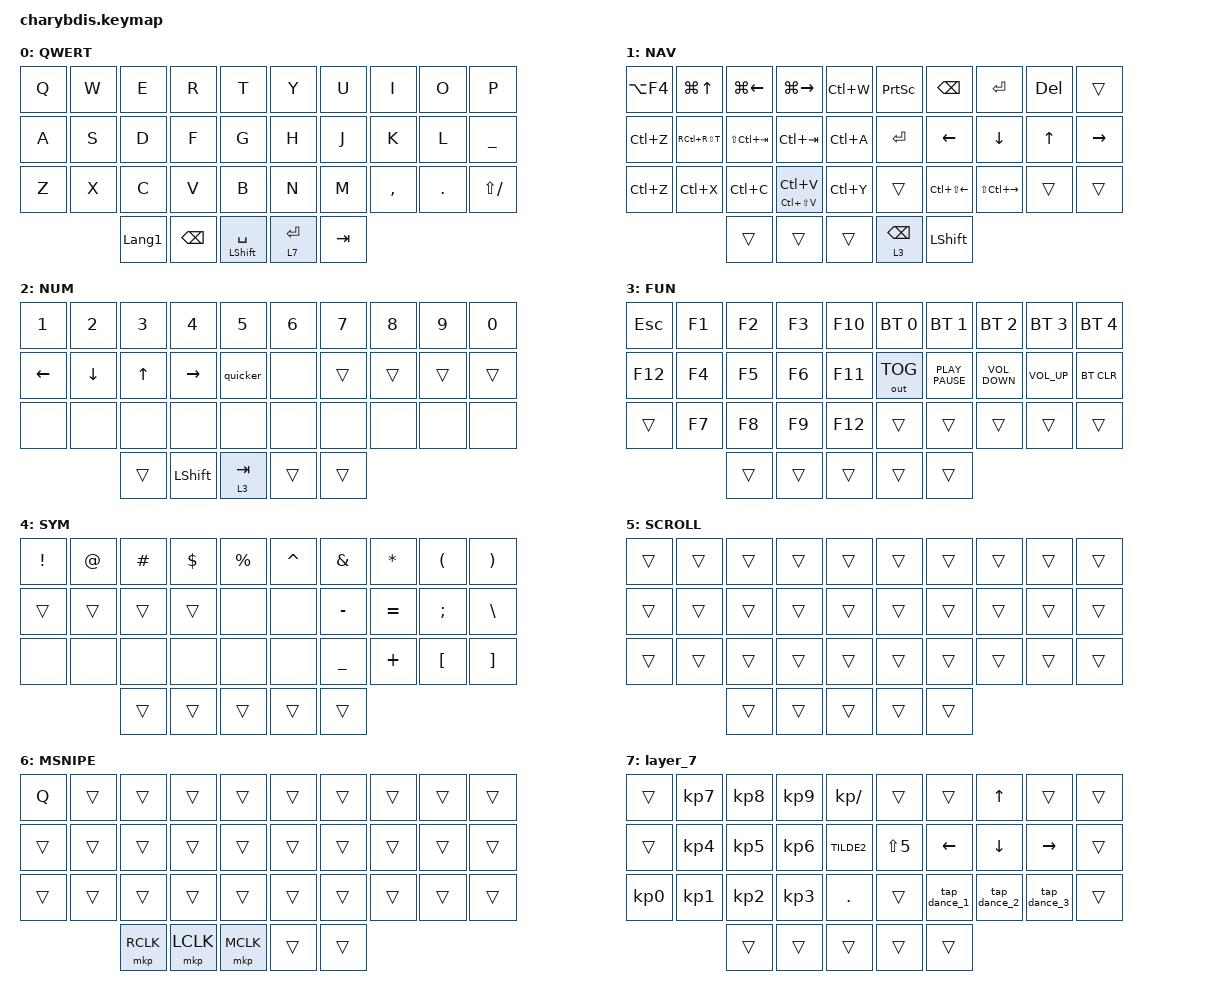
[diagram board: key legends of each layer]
#include <behaviors/mouse_keys.dtsi>
#include <dt-bindings/zmk/mouse.h>
#include <behaviors.dtsi>
#include <dt-bindings/zmk/bt.h>
#include <dt-bindings/zmk/keys.h>
#include <dt-bindings/zmk/outputs.h>
#include <dt-bindings/zmk/pointing.h>

&lt {
    tapping-term-ms = <240>;
    flavor = "tap-preferred";
    quick-tap-ms = <150>;
    require-prior-idle-ms = <10>;
};

&mt {
    tapping-term-ms = <250>;
    flavor = "tap-preferred";
    require-prior-idle-ms = <250>;
};

/ {
    chosen { zmk,matrix_transform = &five_column_transform; };
};

/ {
    combos {
        compatible = "zmk,combos";

        LeftClickRight {
            bindings = <&mkp LCLK>;
            key-positions = <16 17>;
        };

        RightClickRight {
            bindings = <&mkp RCLK>;
            key-positions = <17 18>;
        };

        scroll {
            bindings = <&mo 5>;
            key-positions = <16 17 18>;
        };

        plus {
            bindings = <&kp PLUS>;
            key-positions = <12 13>;
        };

        minus {
            bindings = <&kp KP_MINUS>;
            key-positions = <23 22>;
        };

        cut {
            bindings = <&kp LC(X)>;
            key-positions = <26 27>;
        };

        paste {
            bindings = <&kp LC(V)>;
            key-positions = <27 28>;
        };

        copy {
            bindings = <&kp LC(C)>;
            key-positions = <6 7>;
        };
    };

    behaviors {
        Shift_Enter: Shift_Enter {
            compatible = "zmk,behavior-hold-tap";
            label = "SHIFT_ENTER";
            bindings = <&kp>, <&kp>;

            #binding-cells = <2>;
            hold-trigger-key-positions = <34>;
            tapping-term-ms = <100>;
        };

        hold_tap: hold_tap {
            compatible = "zmk,behavior-hold-tap";
            label = "HOLD_TAP";
            bindings = <&kp>, <&kp>;

            #binding-cells = <2>;
            tapping-term-ms = <200>;
            flavor = "tap-preferred";
        };

        tap_dance_lang_control: tap_dance_lang_control {
            compatible = "zmk,behavior-tap-dance";
            label = "TAP_DANCE_LANG_CONTROL";
            #binding-cells = <0>;
            bindings = <&hold_tap LEFT_CONTROL LC(SPACE)>, <&kp LC(RETURN)>;
        };

        tap_dance_1: tap_dance_1 {
            compatible = "zmk,behavior-tap-dance";
            label = "TAP_DANCE_1";
            #binding-cells = <0>;
            bindings = <&kp LS(NUMBER_3)>, <&kp APOS>;
        };

        tap_dance_2: tap_dance_2 {
            compatible = "zmk,behavior-tap-dance";
            label = "TAP_DANCE_2";
            #binding-cells = <0>;
            bindings = <&kp RIGHT_BRACE>, <&kp NON_US_BSLH>;
        };

        tap_dance_3: tap_dance_3 {
            compatible = "zmk,behavior-tap-dance";
            label = "TAP_DANCE_3";
            #binding-cells = <0>;
            bindings = <&kp LS(N9)>, <&kp LS(N8)>;
        };
    };

    macros {
        quicker: quicker {
            compatible = "zmk,behavior-macro";
            #binding-cells = <0>;
            bindings = <&kp LEFT_CONTROL &kp LCTRL>, <&macro_press>;

            label = "QUICKER";
        };
    };

    keymap {
        compatible = "zmk,keymap";

        QWERT {
            bindings = <
  &kp Q  &kp W  &kp E           &kp R          &kp T                   &kp Y         &kp U    &kp I      &kp O    &kp P
  &kp A  &kp S  &kp D           &kp F          &kp G                   &kp H         &kp J    &kp K      &kp L    &kp UNDERSCORE
  &kp Z  &kp X  &kp C           &kp V          &kp B                   &kp N         &kp M    &kp COMMA  &kp DOT  &kp LS(SLASH)
                &kp LANGUAGE_1  &kp BACKSPACE  &mt LEFT_SHIFT SPACE    &lt 7 RETURN  &kp TAB
            >;
        };

        NAV {
            bindings = <
  &kp LA(F4)  &kp LG(UP_ARROW)  &kp LG(LEFT)     &kp LG(RIGHT)        &kp LC(W)    &kp PRINTSCREEN  &kp BACKSPACE     &kp ENTER          &kp DELETE    &trans
  &kp LC(Z)   &kp RC(RS(T))     &kp LS(LC(TAB))  &kp LC(TAB)          &kp LC(A)    &kp ENTER        &kp LEFT          &kp DOWN           &kp UP_ARROW  &kp RIGHT
  &kp LC(Z)   &kp LC(X)         &kp LC(C)        &mt LC(LS(V)) LC(V)  &kp LC(Y)    &trans           &kp LC(LS(LEFT))  &kp LS(LC(RIGHT))  &trans        &trans
                                &trans           &trans               &trans       &lt 3 BACKSPACE  &kp LSHFT
            >;
        };

        NUM {
            bindings = <
  &kp N1    &kp N2          &kp N3        &kp N4          &kp N5       &kp N6  &kp N7  &kp N8  &kp N9  &kp N0
  &kp LEFT  &kp DOWN_ARROW  &kp UP_ARROW  &kp RIGHT       &quicker     &none   &trans  &trans  &trans  &trans
  &none     &none           &none         &none           &none        &none   &none   &none   &none   &none
                            &trans        &kp LEFT_SHIFT  &lt 3 TAB    &trans  &trans
            >;
        };

        FUN {
            bindings = <
  &kp ESC  &kp F1  &kp F2  &kp F3  &kp F10    &bt BT_SEL 0  &bt BT_SEL 1      &bt BT_SEL 2       &bt BT_SEL 3     &bt BT_SEL 4
  &kp F12  &kp F4  &kp F5  &kp F6  &kp F11    &out OUT_TOG  &kp K_PLAY_PAUSE  &kp C_VOLUME_DOWN  &kp C_VOLUME_UP  &bt BT_CLR
  &trans   &kp F7  &kp F8  &kp F9  &kp F12    &trans        &trans            &trans             &trans           &trans
                   &trans  &trans  &trans     &trans        &trans
            >;
        };

        SYM {
            bindings = <
  &kp EXCLAMATION  &kp AT_SIGN  &kp HASH  &kp DOLLAR  &kp PERCENT    &kp CARET  &kp AMPERSAND   &kp ASTERISK  &kp LEFT_PARENTHESIS  &kp RIGHT_PARENTHESIS
  &trans           &trans       &trans    &trans      &none          &none      &kp MINUS       &kp EQUAL     &kp SEMICOLON         &kp BACKSLASH
  &none            &none        &none     &none       &none          &none      &kp UNDERSCORE  &kp PLUS      &kp LEFT_BRACKET      &kp RIGHT_BRACKET
                                &trans    &trans      &trans         &trans     &trans
            >;
        };

        SCROLL {
            bindings = <
  &trans  &trans  &trans  &trans  &trans    &trans  &trans  &trans  &trans  &trans
  &trans  &trans  &trans  &trans  &trans    &trans  &trans  &trans  &trans  &trans
  &trans  &trans  &trans  &trans  &trans    &trans  &trans  &trans  &trans  &trans
                  &trans  &trans  &trans    &trans  &trans
            >;
        };

        MSNIPE {
            bindings = <
  &kp Q   &trans  &trans     &trans     &trans       &trans  &trans  &trans  &trans  &trans
  &trans  &trans  &trans     &trans     &trans       &trans  &trans  &trans  &trans  &trans
  &trans  &trans  &trans     &trans     &trans       &trans  &trans  &trans  &trans  &trans
                  &mkp RCLK  &mkp LCLK  &mkp MCLK    &trans  &trans
            >;
        };

        layer_7 {
            bindings = <
  &trans           &kp KP_NUMBER_7  &kp KP_NUMBER_8  &kp KP_NUMBER_9  &kp KP_SLASH    &trans      &trans        &kp UP_ARROW  &trans        &trans
  &trans           &kp KP_NUMBER_4  &kp KP_NUMBER_5  &kp KP_NUMBER_6  &kp TILDE2      &kp LS(N5)  &kp LEFT      &kp DOWN      &kp RIGHT     &trans
  &kp KP_NUMBER_0  &kp KP_NUMBER_1  &kp KP_NUMBER_2  &kp KP_NUMBER_3  &kp PERIOD      &trans      &tap_dance_1  &tap_dance_2  &tap_dance_3  &trans
                                    &trans           &trans           &trans          &trans      &trans
            >;
        };
    };
};
